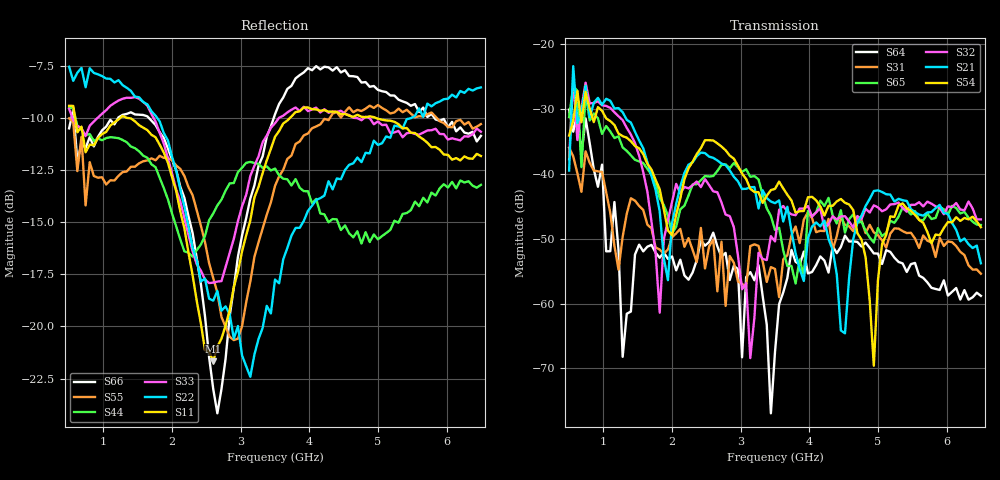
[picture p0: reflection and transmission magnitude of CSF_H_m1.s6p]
!Keysight Technologies,M9804A,MY58100912,A.14.10.03
!Date: Thursday, April 27, 2023 10:28:33
!Correction: S11(C  6-Port  )
!S12(C  6-Port  )
!S13(C  6-Port  )
!S14(C  6-Port  )
!S15(C  6-Port  )
!S16(C  6-Port  )
!S21(C  6-Port  )
!S22(C  6-Port  )
!S23(C  6-Port  )
!S24(C  6-Port  )
!S25(C  6-Port  )
!S26(C  6-Port  )
!S31(C  6-Port  )
!S32(C  6-Port  )
!S33(C  6-Port  )
!S34(C  6-Port  )
!S35(C  6-Port  )
!S36(C  6-Port  )
!S41(C  6-Port  )
!S42(C  6-Port  )
!S43(C  6-Port  )
!S44(C  6-Port  )
!S45(C  6-Port  )
!S46(C  6-Port  )
!S51(C  6-Port  )
!S52(C  6-Port  )
!S53(C  6-Port  )
!S54(C  6-Port  )
!S55(C  6-Port  )
!S56(C  6-Port  )
!S61(C  6-Port  )
!S62(C  6-Port  )
!S63(C  6-Port  )
!S64(C  6-Port  )
!S65(C  6-Port  )
!S66(C  6-Port  )
!S6P File: Measurement: :
# Hz S  RI  R 50
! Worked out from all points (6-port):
!   101 points, 500 MHz to 6.5 GHz, reference 50 ohm
!   strongest paths, dB at 500 MHz, 2 GHz, 3.5 GHz, 5 GHz, 6.5 GHz:
!     S54: -34.1, -49.5, -42.3, -56.4, -48.2
!     S21: -39.5, -47.6, -44.5, -42.5, -53.8
!     S32: -37.8, -44.3, -50.4, -45.2, -47.0
!     S65: -31.2, -49.2, -48.6, -48.3, -47.9
!     S31: -35.9, -49.8, -54.7, -49.4, -55.4
!     S64: -30.1, -52.7, -67.5, -52.3, -58.8
!   lowest |S11| = -21.7 dB at 2.6 GHz (marker M1), VSWR 1.18, Z = 42.6 + j2.02 ohm
!   |S11| at or under -10 dB: 587.8 MHz to 1.242 GHz (654.4 MHz wide, 71.5 % of centre); 1.376 GHz to 3.714 GHz (2.339 GHz wide, 91.9 % of centre); 4.977 GHz to end of sweep
